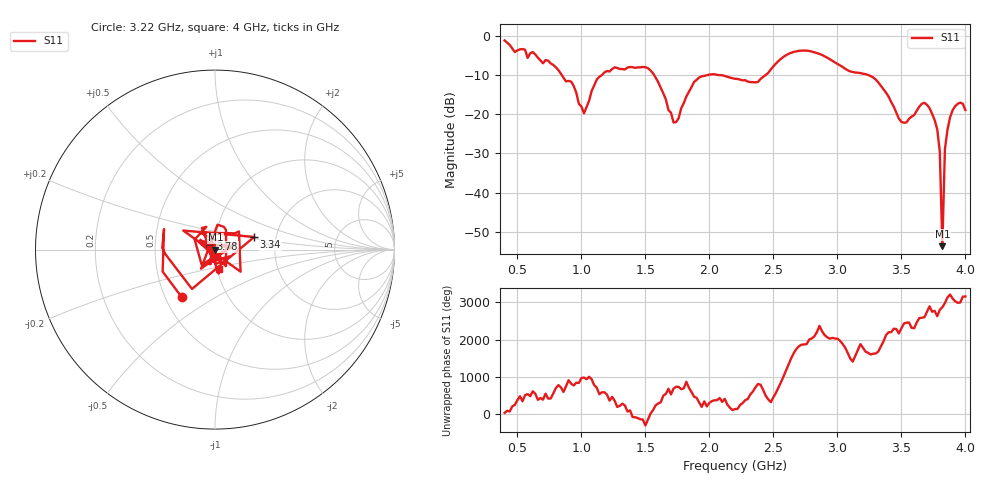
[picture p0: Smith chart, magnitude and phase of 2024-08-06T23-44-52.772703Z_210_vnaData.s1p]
!Created with skrf (http://scikit-rf.org).
# Hz S RI R 50.0
!freq ReS11 ImS11
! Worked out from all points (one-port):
!   181 points, 400 MHz to 4 GHz, reference 50 ohm
!   lowest |S11| = -53.6 dB at 3.82 GHz (marker M1), VSWR 1.00, Z = 50.2 - j0.0301 ohm
!   |S11| at or under -10 dB: 1.567 GHz to 1.988 GHz (420.1 MHz wide, 23.6 % of centre); 2.07 GHz to 2.44 GHz (370 MHz wide, 16.4 % of centre); 3.24 GHz to end of sweep (the widest 3 of 4)
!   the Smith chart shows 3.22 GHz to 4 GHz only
!   S11 on the Smith chart (normalised r, x): 3.22 GHz: 0.61, -0.36; 3.34 GHz: 1.54, +0.23; 3.78 GHz: 0.95, +0.12; 4 GHz: 1.02, -0.23
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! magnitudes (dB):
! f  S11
! 400 MHz  -1.2
! 740 MHz  -6.3
! 860 MHz  -10.7
! 940 MHz  -12.8
! 1.02 GHz  -19.8
! 1.12 GHz  -11.2
! 1.3 GHz  -8.5
! 1.52 GHz  -8.3
! 1.6 GHz  -11.8
! 1.72 GHz  -22.1
! 1.76 GHz  -21.0
! 1.92 GHz  -10.6
! 2.2 GHz  -11.0
! 2.38 GHz  -11.8
! 2.66 GHz  -4.1
! 3.1 GHz  -9.1
! 3.22 GHz  -9.8
! 3.34 GHz  -12.8
! 3.5 GHz  -21.9
! 3.56 GHz  -21.1
! 3.68 GHz  -17.1
! 3.78 GHz  -23.9
! 3.8 GHz  -29.5
! 3.82 GHz  -53.6
! 3.84 GHz  -28.9
! 3.86 GHz  -23.9
! 3.92 GHz  -18.0
! 4 GHz  -18.9
